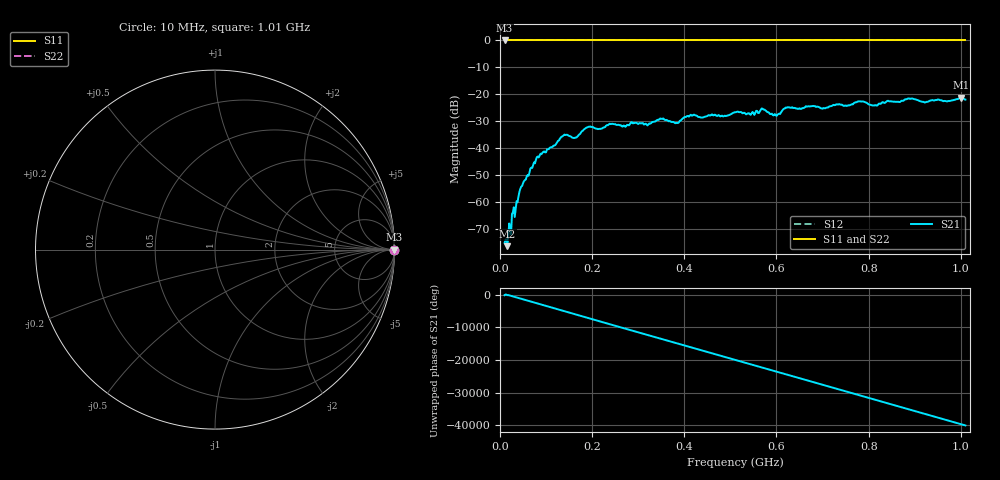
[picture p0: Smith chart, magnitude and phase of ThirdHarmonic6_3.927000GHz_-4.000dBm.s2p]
! 8/17/2025 1:52:10 PM
! C:\ANRITSUVNA\TEMP\TEMP.S2P
! CHANNEL.1
! TR.MEASUREMENT
! RAW.DATA
! RF.CORRECTION.OFF
! AVERAGING.OFF
! IF.BANDWIDTH: 5KHZ
! SWEEPTYPE:  FREQ.SWEEP(Linear)
! Reference Plane Port Info
! PORT:  PORT1  PORT2
! DISTANCE:  0  m  0  m
! TIME:  0  s  0  s
! PHASE.OFFSET:  0  deg.  0  deg.
! LOSS:  0  dB  0  dB
! REF.LOSS:  0  dB  0  dB
! REF.FREQ:  0  Hz  0  Hz
! Power Info
! POWER:  -20  dBm  -20  dBm
! EFF.POWER:  -20  dBm  -20  dBm
! SOURCE.ATTEN:  0  dB  0  dB
! TEST.ATTEN:  0  dB  0  dB
# GHZ S RI R 50.0
! FREQ.GHZ  S11RE  S11IM  S21RE  S21IM  S12RE  S12IM  S22RE  S22IM
!; PortSelection: Port_12
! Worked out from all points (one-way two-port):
!   501 points, 10 MHz to 1.01 GHz, reference 50 ohm
!   highest |S21| = -21.27 dB at 1 GHz (marker M1); lowest = -76.5 dB at 16 MHz (marker M2)
!   lowest |S11| = 0.0 dB at 10 MHz (marker M3)
!   |S11| at or under -10 dB: nowhere
!   |S22| runs from 0.0 to 0.0 dB; largest |S21 - S12| = 1.1
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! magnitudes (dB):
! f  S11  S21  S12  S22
! 10 MHz  0.0  -75.2  0.0  0.0
! 16 MHz  0.0  -76.5  0.0  0.0
! 20 MHz  0.0  -68.1  0.0  0.0
! 30 MHz  0.0  -62.0  0.0  0.0
! 46 MHz  0.0  -54.4  0.0  0.0
! 78 MHz  0.0  -44.4  0.0  0.0
! 136 MHz  0.0  -35.6  0.0  0.0
! 162 MHz  0.0  -36.3  0.0  0.0
! 178 MHz  0.0  -33.8  0.0  0.0
! 192 MHz  0.0  -32.1  0.0  0.0
! 322 MHz  0.0  -31.2  0.0  0.0
! 344 MHz  0.0  -29.6  0.0  0.0
! 384 MHz  0.0  -30.6  0.0  0.0
! 418 MHz  0.0  -27.9  0.0  0.0
! 510 MHz  0.0  -26.7  0.0  0.0
! 570 MHz  0.0  -25.4  0.0  0.0
! 598 MHz  0.0  -27.6  0.0  0.0
! 624 MHz  0.0  -24.8  0.0  0.0
! 678 MHz  0.0  -24.4  0.0  0.0
! 844 MHz  0.0  -22.6  0.0  0.0
! 1 GHz  0.0  -21.3  0.0  0.0
! 1.01 GHz  0.0  -22.0  0.0  0.0
